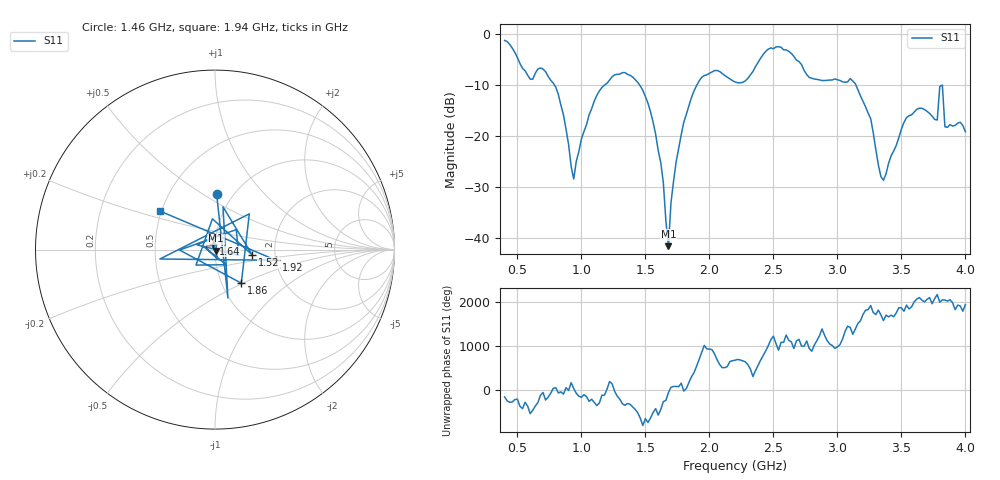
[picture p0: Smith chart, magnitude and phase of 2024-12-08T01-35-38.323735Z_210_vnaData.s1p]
!Created with skrf (http://scikit-rf.org).
# Hz S RI R 50.0
!freq ReS11 ImS11
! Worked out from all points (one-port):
!   181 points, 400 MHz to 4 GHz, reference 50 ohm
!   lowest |S11| = -41.6 dB at 1.68 GHz (marker M1), VSWR 1.02, Z = 50.6 - j0.622 ohm
!   |S11| at or under -10 dB: 788.4 MHz to 1.184 GHz (395.2 MHz wide, 40.1 % of centre); 1.454 GHz to 1.903 GHz (449.4 MHz wide, 26.8 % of centre); 3.144 GHz to end of sweep
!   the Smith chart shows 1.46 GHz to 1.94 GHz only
!   S11 on the Smith chart (normalised r, x): 1.46 GHz: 0.84, +0.57; 1.52 GHz: 1.52, -0.09; 1.64 GHz: 0.98, +0.07; 1.86 GHz: 1.24, -0.49; 1.92 GHz: 2.01, -0.27; 1.94 GHz: 0.49, +0.24
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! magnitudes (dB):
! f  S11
! 400 MHz  -1.3
! 600 MHz  -8.9
! 720 MHz  -7.4
! 860 MHz  -15.9
! 940 MHz  -28.4
! 1.1 GHz  -13.2
! 1.3 GHz  -7.9
! 1.46 GHz  -10.2
! 1.52 GHz  -13.6
! 1.64 GHz  -29.1
! 1.68 GHz  -41.6
! 1.7 GHz  -33.0
! 1.76 GHz  -22.4
! 1.86 GHz  -12.5
! 1.92 GHz  -9.2
! 1.94 GHz  -8.5
! 2.2 GHz  -9.4
! 2.48 GHz  -2.8
! 2.66 GHz  -4.4
! 3.1 GHz  -8.8
! 3.26 GHz  -16.6
! 3.36 GHz  -28.7
! 3.56 GHz  -16.0
! 3.78 GHz  -16.9
! 3.8 GHz  -10.3
! 3.82 GHz  -10.0
! 3.84 GHz  -18.2
! 4 GHz  -19.2
